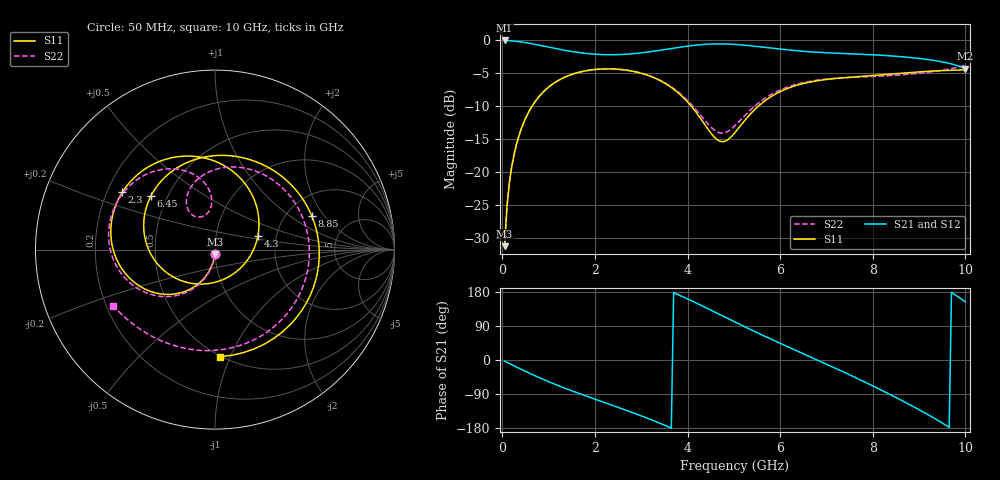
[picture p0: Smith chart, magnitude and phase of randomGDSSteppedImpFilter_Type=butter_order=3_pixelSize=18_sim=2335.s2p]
! freq	dB(S11)	phase(S11)	dB(S12)	phase(S12)
!  dB(S21)	phase(S21)	dB(S22)	phase(S22)
!S-par simulation data
#  GHz  S  DB  R 50
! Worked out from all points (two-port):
!   200 points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, 50 MHz to 10 GHz, reference 50 ohm
!   highest |S21| = -0.01 dB at 50 MHz (marker M1); lowest = -4.3 dB at 10 GHz (marker M2)
!   |S21| within 3 dB of the highest: start of sweep to 9.286 GHz
!   lowest |S11| = -31.3 dB at 50 MHz (marker M3), VSWR 1.06, Z = 49.8 - j2.7 ohm
!   |S11| at or under -10 dB: start of sweep to 643.9 MHz; 4.079 GHz to 5.531 GHz (1.452 GHz wide, 30.2 % of centre)
!   |S22| runs from -31.3 to -3.8 dB; largest |S21 - S12| = 0
!   S11 on the Smith chart (normalised r, x): 50 MHz: 1.00, -0.05; 2.3 GHz: 0.26, +0.27; 4.3 GHz: 1.60, +0.25; 6.45 GHz: 0.41, +0.31; 8.85 GHz: 2.73, +1.52; 10 GHz: 0.49, -0.91
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0.05  -31.31 -93.2  -0.01 -3.1  -0.01 -3.1  -31.31 -93.1
0.1  -25.32 -96.6  -0.02 -6.2  -0.02 -6.2  -25.32 -96.3
0.2  -19.39 -103.0  -0.07 -12.2  -0.07 -12.2  -19.39 -102.4
0.5  -11.89 -121.4  -0.33 -30.0  -0.33 -30.0  -11.89 -119.7
1.05  -6.83 -152.0  -1.09 -59.7  -1.09 -59.7  -6.83 -148.4
1.75  -4.70 173.7  -1.93 -92.4  -1.93 -92.4  -4.69 -179.6
2.3  -4.33 148.2  -2.18 -116.3  -2.18 -116.3  -4.33 158.4
2.9  -4.82 119.1  -1.97 -142.8  -1.97 -142.8  -4.80 135.1
3.4  -6.08 91.2  -1.50 -166.7  -1.50 -166.7  -6.03 115.9
3.9  -8.63 56.4  -0.96 166.8  -0.96 166.8  -8.46 99.1
4.3  -12.06 17.2  -0.64 143.8  -0.64 143.8  -11.54 93.9
4.7  -15.35 -47.3  -0.53 119.8  -0.53 119.8  -14.07 107.9
5.05  -13.80 -109.6  -0.62 98.7  -0.62 98.7  -12.78 123.1
5.65  -9.31 -170.4  -1.04 63.7  -1.04 63.7  -8.92 114.0
6.45  -6.65 140.3  -1.62 19.4  -1.62 19.4  -6.49 76.3
6.7  -6.26 127.4  -1.75 5.7  -1.75 5.7  -6.15 62.2
7.15  -5.82 105.5  -1.93 -19.2  -1.93 -19.2  -5.79 34.9
7.6  -5.56 84.5  -2.06 -44.8  -2.06 -44.8  -5.61 5.2
8.35  -5.16 47.9  -2.33 -89.6  -2.33 -89.6  -5.37 -47.4
8.85  -4.87 19.2  -2.63 -121.2  -2.63 -121.2  -5.10 -82.0
9.5  -4.59 -30.5  -3.26 -166.2  -3.26 -166.2  -4.54 -123.1
10  -4.48 -87.6  -4.28 153.2  -4.28 153.2  -3.78 -150.9
